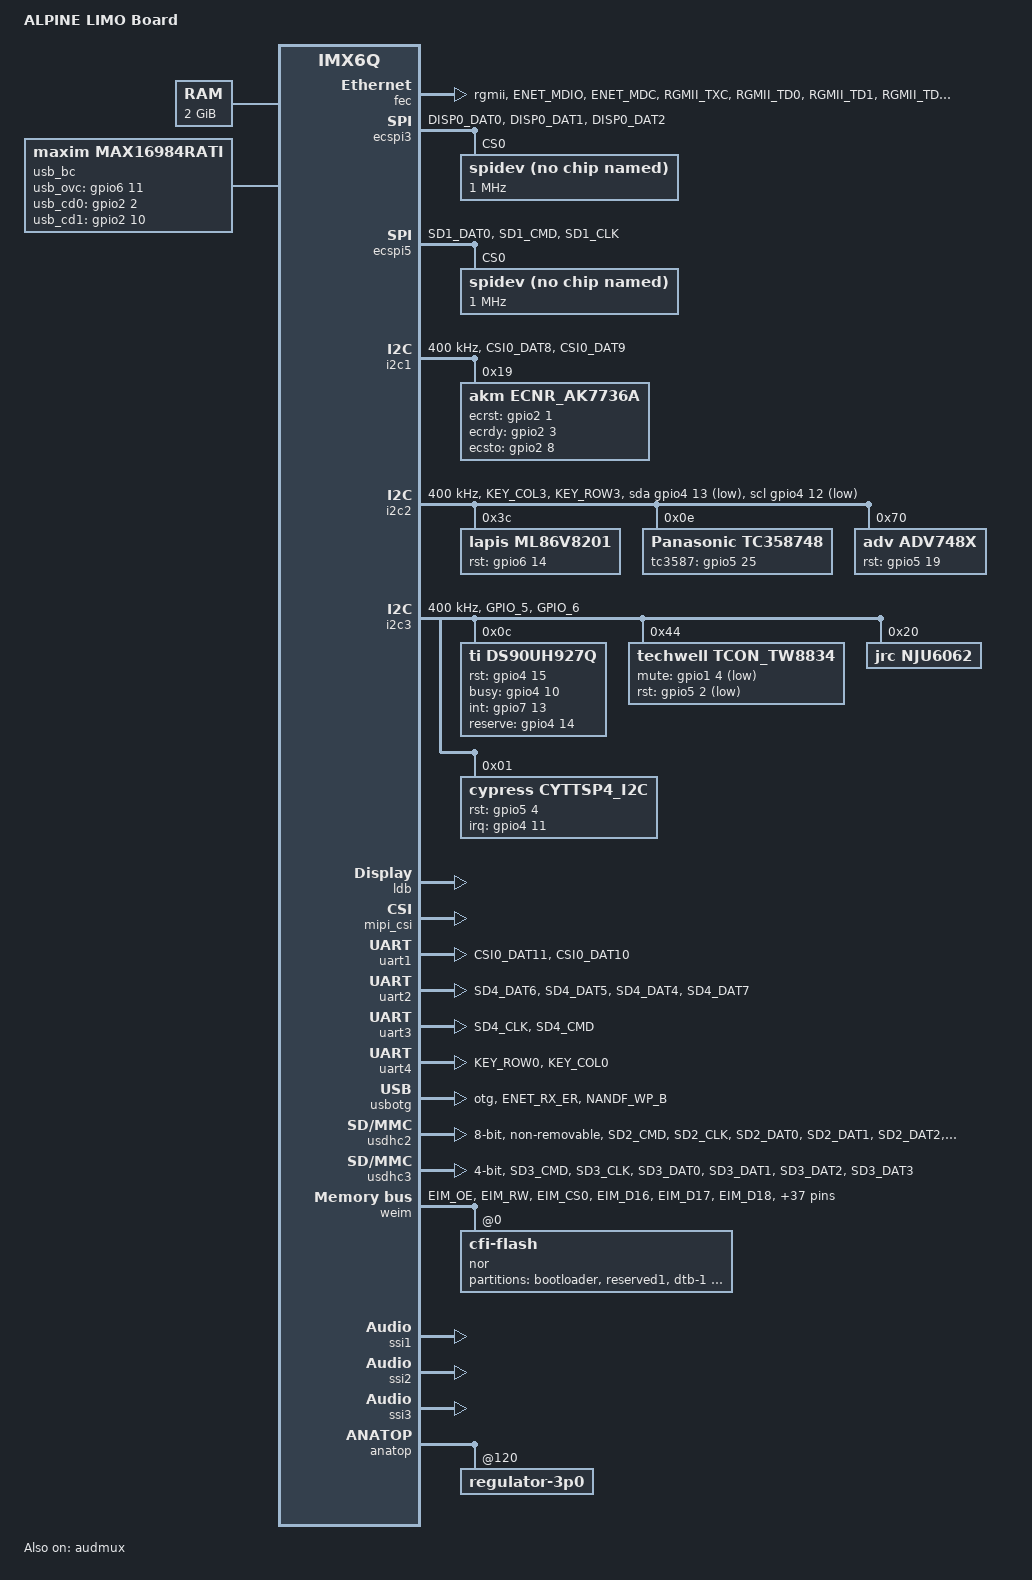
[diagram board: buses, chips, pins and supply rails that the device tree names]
/* 
 * Copyright (C) 2014-2015 ALPINE ELECTRONICS, INC.
 *
 * This program is free software; you can redistribute it and/or 
 * modify it under the terms of the GNU General Public License 
 * version 2 as published by the Free Software Foundation.

 * This program is distributed in the hope that it will be useful, 
 * but WITHOUT ANY WARRANTY; without even the implied warranty of 
 * MERCHANTABILITY or FITNESS FOR A PARTICULAR PURPOSE.  See the 
 * GNU General Public License for more details.

 * You should have received a copy of the GNU General Public License 
 * along with this program; if not, write to the Free Software 
 * Foundation, Inc.
 */

/dts-v1/;

#include "imx6q.dtsi"

/ {
	model = "ALPINE LIMO Board";
	compatible = "apn,imx6q-limo", "fsl,imx6q";

	aliases {
		mxcfb0 = &mxcfb1;
		mxcfb1 = &mxcfb2;
		spi2 = &ecspi3;
		spi4 = &ecspi5;
		i2c0 = &i2c1;
		i2c1 = &i2c2;
		i2c2 = &i2c3;
		mmc1 = &usdhc2;
	};

	memory {
		reg = <0x10000000 0x80000000>;
	};

	regulators {
		compatible = "simple-bus";
#if 0
		reg_usb_otg_vbus: usb_otg_vbus {
			compatible = "regulator-fixed";
			regulator-name = "usb_otg_vbus";
			regulator-min-microvolt = <5000000>;
			regulator-max-microvolt = <5000000>;
			gpio = <&gpio6 9 0>;
			enable-active-high;
		};
#endif
	};

	mxcfb1: fb@0 {
		compatible = "fsl,mxc_sdc_fb";
		disp_dev = "ldb";
		interface_pix_fmt = "RGB24";
		default_bpp = <24>;
		int_clk = <0>;
		late_init = <0>;
		status = "okay";
	};

	mxcfb2: fb@1 {
		compatible = "fsl,mxc_sdc_fb";
		disp_dev = "ldb";
		interface_pix_fmt = "RGB24";
		default_bpp = <24>;
		int_clk = <0>;
		late_init = <0>;
		status = "okay";
	};

	v4l2_cap_0 {
		compatible = "fsl,imx6q-v4l2-capture";
		ipu_id = <0>;
		csi_id = <0>;
		mclk_source = <0>;
		status = "okay";
	};

	v4l2_cap_1 {
		compatible = "fsl,imx6q-v4l2-capture";
		ipu_id = <1>;
		csi_id = <1>;
		mclk_source = <0>;
		status = "okay";
	};

	v4l2_out {
		compatible = "fsl,mxc_v4l2_output";
		status = "okay";
	};

	apn-gpio {
		compatible = "apn,imx6q-limo-apn-gpio";

		ucom-gpios {
			gpio-bdet = <&gpio6 15 0>;		/* /BDET_OUT */
			gpio-adet = <&gpio1 17 0>;		/* /ADET_OUT */
			gpio-back = <&gpio5 21 0>;		/* /BACK */
			gpio-stby = <&gpio6 8 0>;		/* /iMX_STBYEN */
			gpio-pre-acc = <&gpio5 9 0>;	/* /Pre_ACC_DET */
		};
		model-gpios {
			gpio-model-0 = <&gpio2 27 0>;	/* MODEL_0 */
			gpio-model-1 = <&gpio2 28 0>;	/* MODEL_1 */
			gpio-model-2 = <&gpio2 29 0>;	/* MODEL_2 */
			gpio-model-3 = <&gpio2 30 0>;	/* MODEL_3 */
			gpio-model-4 = <&gpio5 0 0>;	/* MODEL_4 */
		};
		debug-gpios {
			gpio-msgen = <&gpio1 25 0>;		/* MSG_EN */
		};
	};
	
	limo_aud4: limo-aud4 {
		compatible = "apn,imx6q-limo-aud4";
	};
	
	limo_aud5: limo-aud5 {
		compatible = "apn,imx6q-limo-aud5";
	};
	
	limo_aud6: limo-aud6 {
		compatible = "apn,imx6q-limo-aud6";
	};

	limo_pcm_dma: limo-pcm-dma {
		compatible = "apn,imx6q-limo-pcm-dma";
		asrc-tx = <20 21 22>;
		asrc-rx = <17 18 19>;
	};

	sound-limo-ssi1 {
		compatible = "apn,imx6q-limo-ssi1-dai";
		model = "sound-limo-ssi1";
		ssi-controller = <&ssi1>;
		audio-codec = <&limo_aud4>;
		asoc-platform = <&limo_pcm_dma>;
		asoc-cpu = <&ssi1>;
		audio-routing =
			"Ext Spk", "SPKOUTL",
			"Ext Spk", "SPKOUTR";
		mux-int-port = <1>;
		mux-int-port-regval = <0x9cf7b000 0x00006000>;
		mux-ext-port = <4>;
		mux-ext-port-regval = <0x00108000 0x00000000>;
		
		playback-buffer-size = <65536>;
		capture-buffer-size = <65536>;
		playback-asrc-enable = <1>;
		
		ssi-no = <1>;
		ssi-regs = < 0x00001040 
					 0x0000028f 
					 0x0000028f 
					 0x0004e300 
					 0x0004e300 >;
	};
	
	sound-limo-ssi2 {
		compatible = "apn,imx6q-limo-ssi2-dai";
		model = "sound-limo-ssi2";
		ssi-controller = <&ssi2>;
		audio-codec = <&limo_aud5>;
		asoc-platform = <&limo_pcm_dma>;
		asoc-cpu = <&ssi2>;
		audio-routing =
			"Ext Spk", "SPKOUTL",
			"Ext Spk", "SPKOUTR";
		mux-int-port = <2>;
		mux-int-port-regval = <0xa539c000 0x00008000>;
		mux-ext-port = <5>;
		mux-ext-port-regval = <0x08529000  0x00002000>;
		
		playback-buffer-size = <65536>;
		capture-buffer-size = <65536>;
		playback-asrc-enable = <1>;
		
		ssi-no = <2>;
		ssi-regs = < 0x00001040 
					 0x0000028f 
					 0x0000028f 
					 0x0004e300 
					 0x0004e300 >;
	};
	
	sound-limo-ssi3 {
		compatible = "apn,imx6q-limo-ssi3-dai";
		model = "sound-limo-ssi3";
		ssi-controller = <&ssi3>;
		audio-codec = <&limo_aud6>;
		asoc-platform = <&limo_pcm_dma>;
		asoc-cpu = <&ssi3>;
		audio-routing =
			"Ext Spk", "SPKOUTL",
			"Ext Spk", "SPKOUTR";
		mux-int-port = <7>;
		mux-int-port-regval = <0xad7bd000 0x0000a000>;
		mux-ext-port = <6>;
		mux-ext-port-regval = <0x319ce000 0x0000c000>;
		
		playback-buffer-size = <65536>;
		capture-buffer-size = <65536>;
		playback-asrc-enable = <1>;
		
		ssi-no = <3>;
		ssi-regs = < 0x00001040 
					 0x0000028f 
					 0x0000028f 
					 0x0004e300 
					 0x0004e300 >;
	};

	usb_bc:usb_bc {
		compatible = "maxim,max16984rati";
		status = "okay";
	};
};

&iomuxc {
	audmux {
		pinctrl_audmux_limo: audmuxgrp-limo {
			fsl,pins = <
				/*MX6QDL_PAD_CSI0_DAT4__AUD3_TXC	  0x130b0*/
				/*MX6QDL_PAD_CSI0_DAT6__AUD3_TXFS   0x130b0*/
				MX6QDL_PAD_CSI0_DAT5__AUD3_TXD    0x130b0
				MX6QDL_PAD_DISP0_DAT19__AUD4_RXC  0x130b0
				MX6QDL_PAD_DISP0_DAT23__AUD4_RXD  0x130b0
				MX6QDL_PAD_DISP0_DAT18__AUD4_RXFS 0x130b0
				MX6QDL_PAD_DISP0_DAT20__AUD4_TXC  0x130b0
				MX6QDL_PAD_DISP0_DAT21__AUD4_TXD  0x130b0
				MX6QDL_PAD_DISP0_DAT22__AUD4_TXFS 0x130b0
				MX6QDL_PAD_DISP0_DAT14__AUD5_RXC  0x130b0
				MX6QDL_PAD_KEY_ROW1__AUD5_RXD     0x130b0
				MX6QDL_PAD_DISP0_DAT13__AUD5_RXFS 0x130b0
				MX6QDL_PAD_DISP0_DAT16__AUD5_TXC  0x130b0
				MX6QDL_PAD_DISP0_DAT17__AUD5_TXD  0x130b0
				MX6QDL_PAD_KEY_COL1__AUD5_TXFS    0x130b0
				MX6QDL_PAD_DISP0_DAT6__AUD6_RXC   0x130b0
				MX6QDL_PAD_DI0_PIN4__AUD6_RXD     0x130b0
				MX6QDL_PAD_DISP0_DAT5__AUD6_RXFS  0x130b0
				MX6QDL_PAD_DI0_PIN15__AUD6_TXC    0x130b0
				MX6QDL_PAD_DI0_PIN2__AUD6_TXD     0x130b0
				MX6QDL_PAD_DI0_PIN3__AUD6_TXFS    0x130b0
			>;
		};
	};

	enet {
		pinctrl_enet_limo_normal: enetgrp-limo_normal {
			fsl,pins = <
				MX6QDL_PAD_ENET_MDIO__GPIO1_IO22    0x1b0b0
				MX6QDL_PAD_ENET_MDC__GPIO1_IO31     0x1b0b0
				MX6QDL_PAD_RGMII_TXC__GPIO6_IO19    0x13030
				MX6QDL_PAD_RGMII_TD0__GPIO6_IO20    0x1b030
				MX6QDL_PAD_RGMII_TD1__GPIO6_IO21    0x1b030
				MX6QDL_PAD_RGMII_TD2__GPIO6_IO22    0x1b030
				MX6QDL_PAD_RGMII_TD3__GPIO6_IO23    0x1b030
				MX6QDL_PAD_RGMII_TX_CTL__GPIO6_IO26 0x1b030
				MX6QDL_PAD_ENET_REF_CLK__GPIO1_IO23 0x1b0b0
				MX6QDL_PAD_RGMII_RXC__GPIO6_IO30    0x1b030
				MX6QDL_PAD_RGMII_RD0__GPIO6_IO25    0x1b030
				MX6QDL_PAD_RGMII_RD1__GPIO6_IO27    0x1b030
				MX6QDL_PAD_RGMII_RD2__GPIO6_IO28    0x1b030
				MX6QDL_PAD_RGMII_RD3__GPIO6_IO29    0x1b030
				MX6QDL_PAD_RGMII_RX_CTL__GPIO6_IO24 0x1b030
			>;
		};

		pinctrl_enet_limo_debug: enetgrp-limo_debug {
			fsl,pins = <
				MX6QDL_PAD_ENET_MDIO__ENET_MDIO       0x1b0b0
				MX6QDL_PAD_ENET_MDC__ENET_MDC         0x1b0b0
				MX6QDL_PAD_RGMII_TXC__RGMII_TXC       0x13030
				MX6QDL_PAD_RGMII_TD0__RGMII_TD0       0x1b030
				MX6QDL_PAD_RGMII_TD1__RGMII_TD1       0x1b030
				MX6QDL_PAD_RGMII_TD2__RGMII_TD2       0x1b030
				MX6QDL_PAD_RGMII_TD3__RGMII_TD3       0x1b030
				MX6QDL_PAD_RGMII_TX_CTL__RGMII_TX_CTL 0x1b030
				MX6QDL_PAD_ENET_REF_CLK__ENET_TX_CLK  0x1b0b0
				MX6QDL_PAD_RGMII_RXC__RGMII_RXC       0x1b030
				MX6QDL_PAD_RGMII_RD0__RGMII_RD0       0x1b030
				MX6QDL_PAD_RGMII_RD1__RGMII_RD1       0x1b030
				MX6QDL_PAD_RGMII_RD2__RGMII_RD2       0x1b030
				MX6QDL_PAD_RGMII_RD3__RGMII_RD3       0x1b030
				MX6QDL_PAD_RGMII_RX_CTL__RGMII_RX_CTL 0x1b030
			>;
		};
	};

	ecspi3 {
		pinctrl_ecspi3_limo: ecspi3grp-limo {
			fsl,pins = <
				MX6QDL_PAD_DISP0_DAT0__ECSPI3_SCLK 0x1b0b0
				MX6QDL_PAD_DISP0_DAT1__ECSPI3_MOSI 0x1a0b0
				MX6QDL_PAD_DISP0_DAT2__ECSPI3_MISO 0x1b0b0
			>;
		};
	};
	
	ecspi5 {
		pinctrl_ecspi5_limo: ecspi5grp-limo {
			fsl,pins = <
				MX6QDL_PAD_SD1_DAT0__ECSPI5_MISO 0x1b0b0
				MX6QDL_PAD_SD1_CMD__ECSPI5_MOSI  0x1b0b0
				MX6QDL_PAD_SD1_CLK__ECSPI5_SCLK  0x1b0b0
			>;
		};
	};

	i2c1 {
		pinctrl_i2c1_limo: i2c1grp-limo {
			fsl,pins = <
				MX6QDL_PAD_CSI0_DAT8__I2C1_SDA 0x4001a8b0
				MX6QDL_PAD_CSI0_DAT9__I2C1_SCL 0x4001a8b0
			>;
		};
	};

	i2c2 {
		pinctrl_i2c2_limo: i2c2grp-limo {
			fsl,pins = <
				MX6QDL_PAD_KEY_COL3__I2C2_SCL  0x4001a8b0
				MX6QDL_PAD_KEY_ROW3__I2C2_SDA  0x4001a8b0
			>;
		};
		pinctrl_i2c2_limo_gpio: i2c2grp-limo-gpio {
			fsl,pins = <
				MX6QDL_PAD_KEY_COL3__GPIO4_IO12  0x1b0b0 
				MX6QDL_PAD_KEY_ROW3__GPIO4_IO13  0x1b0b0
			>;
		};
	};

	i2c3 {
		pinctrl_i2c3_limo: i2c3grp-limo {
			fsl,pins = <
				MX6QDL_PAD_GPIO_5__I2C3_SCL    0x4001a8b0
				MX6QDL_PAD_GPIO_6__I2C3_SDA    0x4001a8b0
			>;
		};
	};

	uart1 {
		pinctrl_uart1_limo: uart1grp-limo {
			fsl,pins = <
				MX6QDL_PAD_CSI0_DAT11__UART1_RX_DATA    0x1b0b0
				MX6QDL_PAD_CSI0_DAT10__UART1_TX_DATA    0x1b0b0
			>;
		};
	};

	uart2 {
		pinctrl_uart2_limo: uart2grp-limo {
			fsl,pins = <
				MX6QDL_PAD_SD4_DAT6__UART2_CTS_B       0x1b0b0
				MX6QDL_PAD_SD4_DAT5__UART2_RTS_B       0x1b0b0
				MX6QDL_PAD_SD4_DAT4__UART2_RX_DATA     0x1b0b0
				MX6QDL_PAD_SD4_DAT7__UART2_TX_DATA     0x1b0b0
			>;
		};
	};

	uart3 {
		pinctrl_uart3_limo: uart3grp-limo {
			fsl,pins = <
				MX6QDL_PAD_SD4_CLK__UART3_RX_DATA 0x1b0b0
				MX6QDL_PAD_SD4_CMD__UART3_TX_DATA 0x1b0b0
			>;
		};
	};

	uart4 {
		pinctrl_uart4_limo: uart4grp-limo {
			fsl,pins = <
				MX6QDL_PAD_KEY_ROW0__UART4_RX_DATA 0x1b0b0
				MX6QDL_PAD_KEY_COL0__UART4_TX_DATA 0x1b0b0
			>;
		};
	};

	usbotg {
		pinctrl_usbotg_limo: usbotggrp-limo {
			fsl,pins = <
				MX6QDL_PAD_ENET_RX_ER__USB_OTG_ID 0x1a0b0
				MX6QDL_PAD_NANDF_WP_B__GPIO6_IO09 0x1a0b0
			>;
		};
	};

	usdhc2 {
		pinctrl_usdhc2_limo: usdhc2grp-limo {
			fsl,pins = <
				MX6QDL_PAD_SD2_CMD__SD2_CMD    0x4001a0b0
				MX6QDL_PAD_SD2_CLK__SD2_CLK    0x1b0b0
				MX6QDL_PAD_SD2_DAT0__SD2_DATA0 0x1f0b0
				MX6QDL_PAD_SD2_DAT1__SD2_DATA1 0x1f0b0
				MX6QDL_PAD_SD2_DAT2__SD2_DATA2 0x1f0b0
				MX6QDL_PAD_SD2_DAT3__SD2_DATA3 0x1f0b0
				MX6QDL_PAD_NANDF_D4__SD2_DATA4 0x1f0b0
				MX6QDL_PAD_NANDF_D5__SD2_DATA5 0x1f0b0
				MX6QDL_PAD_NANDF_D6__SD2_DATA6 0x1f0b0
				MX6QDL_PAD_NANDF_D7__SD2_DATA7 0x1f0b0
			>;
		};
	};

	usdhc3 {
		pinctrl_usdhc3_limo: usdhc3grp-limo {
			fsl,pins = <
				MX6QDL_PAD_SD3_CMD__SD3_CMD    0x4001f0b0
				MX6QDL_PAD_SD3_CLK__SD3_CLK    0x1f0b0
				MX6QDL_PAD_SD3_DAT0__SD3_DATA0 0x1f0b0
				MX6QDL_PAD_SD3_DAT1__SD3_DATA1 0x1f0b0
				MX6QDL_PAD_SD3_DAT2__SD3_DATA2 0x1f0b0
				MX6QDL_PAD_SD3_DAT3__SD3_DATA3 0x1f0b0
			>;
		};
	};

	weim {
    	pinctrl_weim_limo: weimgrp-limo {
			fsl,pins = <
				MX6QDL_PAD_EIM_OE__EIM_OE_B    0x1b0b0
				MX6QDL_PAD_EIM_RW__EIM_RW      0x1a0b0
				MX6QDL_PAD_EIM_CS0__EIM_CS0_B  0x1b0b0

				/* data */
				MX6QDL_PAD_EIM_D16__EIM_DATA16 0x1b0b0
				MX6QDL_PAD_EIM_D17__EIM_DATA17 0x1b0b0
				MX6QDL_PAD_EIM_D18__EIM_DATA18 0x1b0b0
				MX6QDL_PAD_EIM_D19__EIM_DATA19 0x1b0b0
				MX6QDL_PAD_EIM_D20__EIM_DATA20 0x1b0b0
				MX6QDL_PAD_EIM_D21__EIM_DATA21 0x1b0b0
				MX6QDL_PAD_EIM_D22__EIM_DATA22 0x1b0b0
				MX6QDL_PAD_EIM_D23__EIM_DATA23 0x1b0b0
				MX6QDL_PAD_EIM_D24__EIM_DATA24 0x1b0b0
				MX6QDL_PAD_EIM_D25__EIM_DATA25 0x1b0b0
				MX6QDL_PAD_EIM_D26__EIM_DATA26 0x1b0b0
				MX6QDL_PAD_EIM_D27__EIM_DATA27 0x1b0b0
				MX6QDL_PAD_EIM_D28__EIM_DATA28 0x1b0b0
				MX6QDL_PAD_EIM_D29__EIM_DATA29 0x1b0b0
				MX6QDL_PAD_EIM_D30__EIM_DATA30 0x1b0b0
				MX6QDL_PAD_EIM_D31__EIM_DATA31 0x1b0b0

				/* address */
				MX6QDL_PAD_EIM_A23__EIM_ADDR23 0x1a0b0
				MX6QDL_PAD_EIM_A22__EIM_ADDR22 0x1a0b0
				MX6QDL_PAD_EIM_A21__EIM_ADDR21 0x1a0b0
				MX6QDL_PAD_EIM_A20__EIM_ADDR20 0x1a0b0
				MX6QDL_PAD_EIM_A19__EIM_ADDR19 0x1a0b0
				MX6QDL_PAD_EIM_A18__EIM_ADDR18 0x1a0b0
				MX6QDL_PAD_EIM_A17__EIM_ADDR17 0x1a0b0
				MX6QDL_PAD_EIM_A16__EIM_ADDR16 0x1a0b0

				MX6QDL_PAD_EIM_DA15__EIM_AD15  0x1a0b0
				MX6QDL_PAD_EIM_DA14__EIM_AD14  0x1a0b0
				MX6QDL_PAD_EIM_DA13__EIM_AD13  0x1a0b0
				MX6QDL_PAD_EIM_DA12__EIM_AD12  0x1a0b0
				MX6QDL_PAD_EIM_DA11__EIM_AD11  0x1a0b0
				MX6QDL_PAD_EIM_DA10__EIM_AD10  0x1a0b0
				MX6QDL_PAD_EIM_DA9__EIM_AD09   0x1a0b0
				MX6QDL_PAD_EIM_DA8__EIM_AD08   0x1a0b0
				MX6QDL_PAD_EIM_DA7__EIM_AD07   0x1a0b0
				MX6QDL_PAD_EIM_DA6__EIM_AD06   0x1a0b0
				MX6QDL_PAD_EIM_DA5__EIM_AD05   0x1a0b0
				MX6QDL_PAD_EIM_DA4__EIM_AD04   0x1a0b0
				MX6QDL_PAD_EIM_DA3__EIM_AD03   0x1a0b0
				MX6QDL_PAD_EIM_DA2__EIM_AD02   0x1a0b0
				MX6QDL_PAD_EIM_DA1__EIM_AD01   0x1a0b0
				MX6QDL_PAD_EIM_DA0__EIM_AD00   0x1a0b0
			>;
		};
	};

	wdog1 {
		pinctrl_wdog1_limo: wdog1grp-limo {
			fsl,pins = <
					MX6QDL_PAD_SD1_DAT2__WDOG1_RESET_B_DEB  0x1a0b0
			>;
		};
	};

	vdec {
		pinctrl_vdec_limo: vdec-limo {
			fsl,pins = <
				MX6QDL_PAD_NANDF_CS1__GPIO6_IO14         0x1a0b0
				MX6QDL_PAD_CSI0_DAT12__IPU1_CSI0_DATA12  0x1b0b0
				MX6QDL_PAD_CSI0_DAT13__IPU1_CSI0_DATA13  0x1b0b0
				MX6QDL_PAD_CSI0_DAT14__IPU1_CSI0_DATA14  0x1b0b0
				MX6QDL_PAD_CSI0_DAT15__IPU1_CSI0_DATA15  0x1b0b0
				MX6QDL_PAD_CSI0_DAT16__IPU1_CSI0_DATA16  0x1b0b0
				MX6QDL_PAD_CSI0_DAT17__IPU1_CSI0_DATA17  0x1b0b0
				MX6QDL_PAD_CSI0_DAT18__IPU1_CSI0_DATA18  0x1b0b0
				MX6QDL_PAD_CSI0_DAT19__IPU1_CSI0_DATA19  0x1b0b0
				MX6QDL_PAD_CSI0_PIXCLK__IPU1_CSI0_PIXCLK 0x1b0b0
			    >;
		};
	};
	
	serializer {
		pinctrl_serializer_limo: serializer-limo {
			fsl,pins = <
				MX6QDL_PAD_KEY_ROW4__GPIO4_IO15         0x130b0
				MX6QDL_PAD_KEY_COL2__GPIO4_IO10         0x130b0
				MX6QDL_PAD_GPIO_18__GPIO7_IO13          0x1b0b0
				MX6QDL_PAD_KEY_COL4__GPIO4_IO14         0x130b0
			>;
		};
	};

	touch {
		pinctrl_touch_limo: touch-limo {
			fsl,pins = <
				MX6QDL_PAD_EIM_A24__GPIO5_IO04          0x1a0b0
				MX6QDL_PAD_KEY_ROW2__GPIO4_IO11         0x1b0b0
		    >;
		};
	};

	tcon {
		pinctrl_tcon_limo: tcon-limo {
			fsl,pins = <
				MX6QDL_PAD_EIM_A25__GPIO5_IO02          0x130b0
				MX6QDL_PAD_GPIO_4__GPIO1_IO04           0x120b0
		    >;
		};
	};
	ecnr {
		pinctrl_ecnr_limo: ecnr-limo {
			fsl,pins = <
				MX6QDL_PAD_NANDF_D1__GPIO2_IO01         0x1a0b0
				MX6QDL_PAD_NANDF_D3__GPIO2_IO03         0x1b0b0
				MX6QDL_PAD_SD4_DAT0__GPIO2_IO08         0x1b0b0
		    >;
		};
	};

	usb_bc {
		pinctrl_usb_bc_limo: usb_bc-limo {
			fsl,pins = <
				MX6QDL_PAD_NANDF_CS0__GPIO6_IO11        0x1a0b0
				MX6QDL_PAD_NANDF_D2__GPIO2_IO02         0x1b0b0
				MX6QDL_PAD_SD4_DAT2__GPIO2_IO10         0x1b0b0
		    >;
		};
	};
};

&iomuxc {
	pinctrl-names = "default";
	pinctrl-0 = <&pinctrl_hog_limo>;

	hog {
		pinctrl_hog_limo: hoggrp-limo {
			fsl,pins = <
				MX6QDL_PAD_GPIO_0__CCM_CLKO1        0x130b0
				MX6QDL_PAD_GPIO_1__GPIO1_IO01       0x1a0b0
				MX6QDL_PAD_GPIO_9__GPIO1_IO09       0x130b0
				MX6QDL_PAD_SD1_DAT1__GPIO1_IO17     0x1b0b0
				MX6QDL_PAD_SD1_DAT3__GPIO1_IO21     0x1b0b0
				MX6QDL_PAD_ENET_CRS_DV__GPIO1_IO25  0x1b0b0
				MX6QDL_PAD_ENET_RXD0__GPIO1_IO27    0x1b0b0
				MX6QDL_PAD_ENET_TX_EN__GPIO1_IO28   0x1b0b0
				MX6QDL_PAD_ENET_TXD1__GPIO1_IO29    0x1b0b0
				MX6QDL_PAD_ENET_TXD0__GPIO1_IO30    0x1b0b0
				MX6QDL_PAD_NANDF_D0__GPIO2_IO00     0x1a0b0
				MX6QDL_PAD_SD4_DAT1__GPIO2_IO09     0x1a0b0
				MX6QDL_PAD_SD4_DAT3__GPIO2_IO11     0x1a0b0
				MX6QDL_PAD_EIM_LBA__GPIO2_IO27      0x1a0b0
				MX6QDL_PAD_EIM_EB0__GPIO2_IO28      0x1a0b0
				MX6QDL_PAD_EIM_EB1__GPIO2_IO29      0x1a0b0
				MX6QDL_PAD_EIM_EB2__GPIO2_IO30      0x1a0b0
				MX6QDL_PAD_GPIO_19__GPIO4_IO05      0x1b0b0
				MX6QDL_PAD_DISP0_DAT3__GPIO4_IO24   0x1a0b0
				MX6QDL_PAD_DISP0_DAT4__GPIO4_IO25   0x1a0b0
				MX6QDL_PAD_DISP0_DAT9__GPIO4_IO30   0x1b0b0
				MX6QDL_PAD_DISP0_DAT10__GPIO4_IO31  0x1b0b0
				MX6QDL_PAD_EIM_WAIT__GPIO5_IO00     0x1a0b0
				MX6QDL_PAD_DISP0_DAT12__GPIO5_IO06  0x1b0b0
				MX6QDL_PAD_DISP0_DAT15__GPIO5_IO09  0x1b0b0
				MX6QDL_PAD_CSI0_MCLK__GPIO5_IO19    0x1a0b0
				MX6QDL_PAD_CSI0_DATA_EN__GPIO5_IO20 0x1a0b0
				MX6QDL_PAD_CSI0_VSYNC__GPIO5_IO21   0x1a0b0
				MX6QDL_PAD_CSI0_DAT4__GPIO5_IO22    0x1b0b0
				MX6QDL_PAD_CSI0_DAT6__GPIO5_IO24    0x1b0b0
				MX6QDL_PAD_CSI0_DAT7__GPIO5_IO25    0x1b0b0
				MX6QDL_PAD_NANDF_CLE__GPIO6_IO07    0x1a0b0
				MX6QDL_PAD_NANDF_ALE__GPIO6_IO08    0x1a0b0
				MX6QDL_PAD_NANDF_RB0__GPIO6_IO10    0x1a0b0
				MX6QDL_PAD_NANDF_CS2__GPIO6_IO15    0x130b0
				MX6QDL_PAD_NANDF_CS3__GPIO6_IO16    0x1a0b0
				MX6QDL_PAD_SD3_DAT6__GPIO6_IO18     0x1b0b0
				MX6QDL_PAD_SD3_DAT5__GPIO7_IO00     0x1a0b0
				MX6QDL_PAD_SD3_DAT4__GPIO7_IO01     0x130b0
				MX6QDL_PAD_SD3_RST__GPIO7_IO08      0x1a0b0
				MX6QDL_PAD_GPIO_17__GPIO7_IO12      0x1a0b0
						
				/* unused gpio */
				MX6QDL_PAD_GPIO_2__GPIO1_IO02       0x1b0b0
				MX6QDL_PAD_GPIO_3__GPIO1_IO03       0x1b0b0
				MX6QDL_PAD_GPIO_7__GPIO1_IO07       0x1b0b0
				MX6QDL_PAD_GPIO_8__GPIO1_IO08       0x1b0b0
				MX6QDL_PAD_ENET_RXD1__GPIO1_IO26    0x1b0b0
				MX6QDL_PAD_EIM_CS1__GPIO2_IO24      0x1b0b0
				MX6QDL_PAD_EIM_EB3__GPIO2_IO31      0x1a0b0
				MX6QDL_PAD_DI0_DISP_CLK__GPIO4_IO16 0x1b0b0
				MX6QDL_PAD_DISP0_DAT7__GPIO4_IO28   0x1b0b0
				MX6QDL_PAD_DISP0_DAT8__GPIO4_IO29   0x1b0b0
				MX6QDL_PAD_DISP0_DAT11__GPIO5_IO05  0x1b0b0
				MX6QDL_PAD_SD3_DAT7__GPIO6_IO17     0x1b0b0
				MX6QDL_PAD_EIM_BCLK__GPIO6_IO31     0x1b0b0
				MX6QDL_PAD_GPIO_16__GPIO7_IO11      0x1b0b0
		    >;
		};
	};
};

&audmux {
	pinctrl-names = "default";
	pinctrl-0 = <&pinctrl_audmux_limo>;
	status = "okay";
};

&fec {
	pinctrl-names = "default", "debug";
	pinctrl-0 = <&pinctrl_enet_limo_normal>;
	pinctrl-1 = <&pinctrl_enet_limo_debug>;
	phy-mode = "rgmii";
	status = "okay";
};

&gpc {
	fsl,cpu_pupscr_sw2iso = <0xf>;
	fsl,cpu_pupscr_sw = <0xf>;
	fsl,cpu_pdnscr_iso2sw = <0x1>;
	fsl,cpu_pdnscr_iso = <0x1>;
	fsl,ldo-bypass = <0>; /* does not use ldo-bypass */
	fsl,wdog-reset = <1>; /* watchdog select of reset source */
};

&ecspi3 {
	fsl,spi-num-chipselects = <1>;
	cs-gpios = <0>;
	pinctrl-names = "default";
	pinctrl-0 = <&pinctrl_ecspi3_limo>;
	status = "okay";

	spidev@0 {
		compatible = "spidev";
		spi-max-frequency = <1000000>;
		reg = <0>;
	};
};

&ecspi5 {
	fsl,spi-num-chipselects = <1>;
	cs-gpios = <0>;
	pinctrl-names = "default";
	pinctrl-0 = <&pinctrl_ecspi5_limo>;
	status = "okay";

	spidev@0 {
		compatible = "spidev";
		spi-max-frequency = <1000000>;
		reg = <0>;
	};
};

&i2c1 {
	clock-frequency = <400000>;
	pinctrl-names = "default";
	pinctrl-0 = <&pinctrl_i2c1_limo>;
	status = "okay";

	ecnr_ak7736a: ecnr_ak7736a@19 {
		compatible = "akm,ecnr_ak7736a";
		reg = <0x19>;
		pinctrl-names = "default";
		pinctrl-0 = <&pinctrl_ecnr_limo>;
		ecrst-gpios = <&gpio2 1 0>;
		ecrdy-gpios = <&gpio2 3 0>;
		ecsto-gpios = <&gpio2 8 0>;
	};
};

&i2c2 {
	clock-frequency = <400000>;
	pinctrl-names = "default" , "scl_gpio";
	pinctrl-0 = <&pinctrl_i2c2_limo>;
	pinctrl-1 = <&pinctrl_i2c2_limo_gpio>;
	gpio-bank = <4>;
	gpio-pin = <12>;
	scl-gpios = <&gpio4 12 1>;
        sda-gpios = <&gpio4 13 1>;
	status = "okay";

	ml86v8201: ml86v8201@3c {
		compatible = "lapis,ml86v8201";
		reg = <0x3c>;
		pinctrl-names = "default";
		pinctrl-0 = <&pinctrl_vdec_limo>;
		rst-gpios = <&gpio6 14 0>;
		csi_id = <1>;
		mclk = <27000000>;
		mclk_source = <0>;
	};
    tc358748: tc358748@0e {
		compatible = "Panasonic,tc358748";
		reg = <0x0e>;
		tc3587-gpios = <&gpio5 25 0>;
	};
	adv748x: adv748x@70 {
		compatible = "adv,adv748x";
		reg = <0x70>;
		rst-gpios = <&gpio5 19 0>;
		csi_id = <0>;
		mclk = <27000000>;
		mclk_source = <0>;
	};
};

&i2c3 {
	clock-frequency = <400000>;
	pinctrl-names = "default";
	pinctrl-0 = <&pinctrl_i2c3_limo>;
	status = "okay";

	ds90uh927q: ds90uh927q@c {
		compatible = "ti,ds90uh927q";
		reg = <0x0c>;
		pinctrl-names = "default";
		pinctrl-0 = <&pinctrl_serializer_limo>;
		rst-gpio = <&gpio4 15 0>;
		busy-gpio = <&gpio4 10 0>;
		int-gpio = <&gpio7 13 0>;
		reserve-gpio = <&gpio4 14 0>;
	};

	tcon_tw8834: tcon_tw8834@44 {
		compatible = "techwell,tcon_tw8834";
		reg = <0x44>;
		pinctrl-names = "default";
		pinctrl-0 = <&pinctrl_tcon_limo>;
		mute-gpios = <&gpio1 4 1>;
		rst-gpios = <&gpio5 2 1>;
	};

	nju6062: nju6062@20 {
		compatible = "jrc,nju6062";
		reg = <0x20>;
	};

	cyttsp4_i2c: cyttsp4_i2c@01 {
		compatible = "cypress,cyttsp4_i2c";
		reg = <0x01>;
		pinctrl-names = "default";
		pinctrl-0 = <&pinctrl_touch_limo>;
		rst-gpios = <&gpio5 4 0>;
		irq-gpios = <&gpio4 11 0>;
		tch_addr = <0x67>;
		ldr_addr = <0x69>;
	};
};

&ldb {
	status = "okay";

	lvds-channel@0 {
		crtc = "ipu1-di0";
		fsl,data-mapping = "spwg";
		fsl,data-width = <24>;
		primary;
		status = "okay";

		display-timings {
			native-mode = <&timing0>;
			timing0: ldb_wvga {
				clock-frequency = <27000000>;
				hactive = <800>;
				vactive = <480>;
				hback-porch = <23>;
				hfront-porch = <15>;
				vback-porch = <35>;
				vfront-porch = <8>;
				hsync-len = <20>;
				vsync-len = <2>;
			};
		};
	};

	lvds-channel@1 {
		crtc = "ipu2-di1";
		fsl,data-mapping = "spwg";
		fsl,data-width = <24>;
		status = "okay";

		display-timings {
			native-mode = <&timing1>;
			timing1: 480p {
				clock-frequency = <27000000>;
				hactive = <720>;
				vactive = <480>;
				hback-porch = <60>;
				hfront-porch = <16>;
				vback-porch = <30>;
				vfront-porch = <9>;
				hsync-len = <62>;
				vsync-len = <6>;
			};
		};
	};
};

&mipi_csi {
	status = "okay";
	ipu_id = <1>;
	csi_id = <1>;
	v_channel = <3>;
	lanes = <2>;
};

&uart1 {
	pinctrl-names = "default";
	pinctrl-0 = <&pinctrl_uart1_limo>;
	status = "okay";
};

&uart2 {
	pinctrl-names = "default";
	pinctrl-0 = <&pinctrl_uart2_limo>;
	status = "okay";
	fsl,uart-has-rtscts;
};

&uart3 {
	pinctrl-names = "default";
	pinctrl-0 = <&pinctrl_uart3_limo>;
	status = "okay";
};

&uart4 {
	pinctrl-names = "default";
	pinctrl-0 = <&pinctrl_uart4_limo>;
	status = "okay";
};

&usbotg {
#if 0
	vbus-supply = <&reg_usb_otg_vbus>;
#endif
	pinctrl-names = "default";
	pinctrl-0 = <&pinctrl_usbotg_limo>;
	disable-over-current;
	dr_mode = "otg";
	status = "okay";
};

&usbphy1 {
	fsl,tx_d_cal = <0x03>;
};

&usdhc2 {
	pinctrl-names = "default";
	pinctrl-0 = <&pinctrl_usdhc2_limo>;
	bus-width = <8>;
	non-removable;
	no-1-8-v;
	status = "okay";
};

&usdhc3 {
	pinctrl-names = "default";
	pinctrl-0 = <&pinctrl_usdhc3_limo>;
	bus-width = <4>;
	status = "okay";
};

&weim {
	pinctrl-names = "default";
	pinctrl-0 = <&pinctrl_weim_limo>;
	#address-cells = <2>;
	#size-cells = <1>;
	ranges = <0 0 0x08000000 0x08000000>;
	status = "okay";

	nor@0,0 {
		compatible = "cfi-flash";
		reg = <0 0 0x02000000>;
		#address-cells = <1>;
		#size-cells = <1>;
		bank-width = <2>;
		fsl,weim-cs-timing = <0x10320281 0x00000001 0x0e020000
				0x0000a000 0x09089240 0x00000000>;

		partition@0 {
			label = "bootloader";
			reg = <0x0 0x80000>;
		};

		partition@80000 {
			label = "reserved1";
			reg = <0x80000 0x20000>;
		};

		partition@a0000 {
			label = "dtb-1";
			reg = <0xa0000 0x40000>;
		};

		partition@e0000 {
			label = "kernel-1";
			reg = <0xe0000 0x600000>;
		};

		partition@6e0000 {
			label = "dtb-2";
			reg = <0x6e0000 0x40000>;
		};

		partition@720000 {
			label = "kernel-2";
			reg = <0x720000 0x600000>;
		};

		partition@d20000 {
		label = "dtb-Update";
			reg = <0xd20000 0x40000>;
		};

		partition@d60000 {
			label = "kernel-Update";
			reg = <0xd60000 0x600000>;
		};

		partition@1360000 {
			label = "splash1";
			reg = <0x1360000 0x120000>;
		};

		partition@1480000 {
			label = "splash2";
			reg = <0x1480000 0x120000>;
		};

		partition@1560000 {
			label = "reserved2";
			reg = <0x15a0000 0x920000>;
		};

		partition@1ec0000 {
			label = "dab learn memory";
			reg = <0x1ec0000 0x60000>;
		};

		partition@1f20000 {
			label = "ec-nr params";
			reg = <0x1f20000 0x20000>;
		};

		partition@1f40000 {
			label = "settings";
			reg = <0x1f40000 0xA0000>;
		};

		partition@1fe0000 {
			label = "reserved3";
			reg = <0x1fe0000 0x20000>;
		};
	};
};

&wdog1 {
        pinctrl-names = "default";
        pinctrl-0 = <&pinctrl_wdog1_limo>;
};

&ssi1 {
	fsl,mode = "i2s-slave";
	fsl,fifo-depth = <4>;
	limo,ssi-asynchronous;
	dmas = <&sdma 37 0 0>,
	       <&sdma 38 0 0>;
	status = "okay";
};

&ssi2 {
	fsl,mode = "i2s-slave";
	fsl,fifo-depth = <4>;
	limo,ssi-asynchronous;
	dmas = <&sdma 41 0 0>,
	       <&sdma 42 0 0>;
	status = "okay";
};

&ssi3 {
	fsl,mode = "i2s-slave";
	fsl,fifo-depth = <4>;
	limo,ssi-asynchronous;
	dmas = <&sdma 45 0 0>,
	       <&sdma 46 0 0>;
	status = "okay";
};

&asrc_p2p {
	status = "disable";
};

&usb_bc {
        pinctrl-names = "default";
        pinctrl-0 = <&pinctrl_usb_bc_limo>;
  		usb_ovc = <&gpio6 11 0>;
		usb_cd0 = <&gpio2 2 0>;
		usb_cd1 = <&gpio2 10 0>;
};

&anatop {
	regulator-3p0@120 {
		regulator-min-microvolt = <3200000>;
		regulator-max-microvolt = <3200000>;
	};
};

